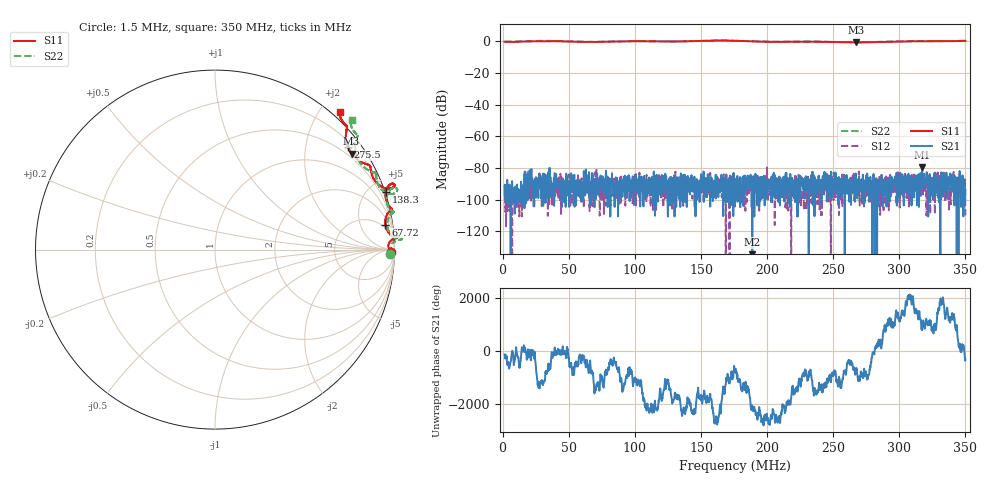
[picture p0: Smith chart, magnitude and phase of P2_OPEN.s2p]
# Hz S RI R 50
! RAW DATA - UNCALIBRATED
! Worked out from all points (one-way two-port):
!   1601 points, 1.5 MHz to 350 MHz, reference 50 ohm
!   highest |S21| = -79.36 dB at 317.3 MHz (marker M1); lowest = -186.2 dB at 188.8 MHz (marker M2)
!   lowest |S11| = -0.6 dB at 267 MHz (marker M3), VSWR 27.50, Z = 19.8 + j156 ohm
!   |S11| at or under -10 dB: nowhere
!   |S22| runs from -0.5 to 0.6 dB; largest |S21 - S12| = 0.00014
!   S11 on the Smith chart (normalised r, x): 1.5 MHz: 66, -39; 67.72 MHz: 4, +13; 138.3 MHz: -0.08, +6.08; 275.5 MHz: 0.31, +2.90; 350 MHz: -0.11, +2.25
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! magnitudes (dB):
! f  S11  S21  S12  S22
! 1.5 MHz  -0.2  -97.3  -91.0  -0.2
! 8.47 MHz  -0.3  -95.8  -102.0  -0.1
! 17.84 MHz  0.0  -89.4  -102.8  0.1
! 32.21 MHz  0.1  -102.0  -93.4  0.4
! 42.67 MHz  0.1  -87.7  -94.5  0.2
! 59.66 MHz  -0.3  -93.2  -86.5  -0.2
! 67.72 MHz  -0.4  -98.6  -91.2  -0.3
! 97.34 MHz  0.1  -95.8  -98.9  0.1
! 117.8 MHz  0.0  -87.3  -91.1  0.0
! 138.3 MHz  0.0  -89.6  -88.1  0.0
! 161.2 MHz  0.5  -84.3  -88.5  0.6
! 175.8 MHz  0.4  -104.3  -91.4  0.4
! 188.8 MHz  0.0  -186.2  -96.2  0.1
! 205.8 MHz  -0.3  -98.6  -116.1  -0.2
! 233.9 MHz  -0.2  -84.6  -88.4  -0.1
! 267 MHz  -0.6  -83.5  -96.5  -0.5
! 275.5 MHz  -0.6  -92.5  -88.6  -0.5
! 292.1 MHz  -0.2  -94.6  -106.7  -0.1
! 304.3 MHz  0.0  -90.7  -95.5  0.1
! 317.3 MHz  0.1  -79.4  -90.2  0.2
! 333.9 MHz  0.1  -84.4  -98.2  0.2
! 350 MHz  0.3  -93.7  -110.0  0.4
